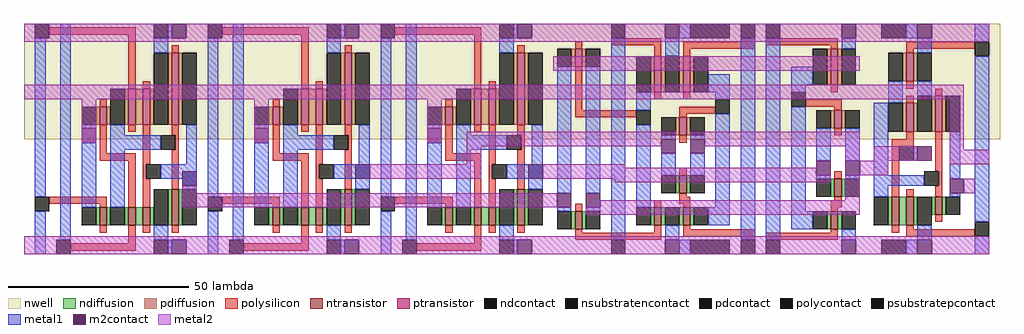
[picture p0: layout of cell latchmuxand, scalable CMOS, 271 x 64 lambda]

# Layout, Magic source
magic
tech scmos
<< metal2 >>
rect -90 127 57 131
rect 142 127 171 131
rect -74 115 -70 127
rect -26 115 -22 127
rect 22 115 26 127
rect 33 114 57 118
rect 33 109 37 114
rect 167 113 171 127
rect 167 109 178 113
rect 6 105 37 109
rect 54 105 57 109
rect -46 101 -42 103
rect -46 97 57 101
<< m2contact >>
rect -46 103 -42 107
rect 2 105 6 109
rect 50 105 54 109
use datapathLatch datapathLatch_0
transform 1 0 -89 0 1 84
box -1 0 50 64
use datapathLatch datapathLatch_1
transform 1 0 -41 0 1 84
box -1 0 50 64
use datapathLatch datapathLatch_2
transform 1 0 7 0 1 84
box -1 0 50 64
use 3to1mux 3to1mux_0
transform 1 0 71 0 1 84
box -16 0 74 64
use and2 and2_0
transform 1 0 66 0 1 77
box 77 7 115 71
<< end >>

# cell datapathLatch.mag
magic
tech scmos
<< nwell >>
rect -1 32 50 64
<< polysilicon >>
rect 6 61 30 63
rect 28 46 30 61
rect 40 56 42 58
rect 32 46 34 48
rect 20 41 22 43
rect 20 28 22 36
rect 28 34 30 36
rect 20 26 30 28
rect 6 14 22 16
rect 20 13 22 14
rect 28 13 30 26
rect 32 25 34 36
rect 40 33 42 36
rect 41 29 42 33
rect 32 21 33 25
rect 32 13 34 21
rect 40 18 42 29
rect 20 6 22 8
rect 28 3 30 8
rect 32 6 34 8
rect 40 6 42 8
rect 12 1 30 3
<< ndiffusion >>
rect 19 8 20 13
rect 22 8 23 13
rect 27 8 28 13
rect 30 8 32 13
rect 34 8 35 13
rect 39 8 40 18
rect 42 8 43 18
<< pdiffusion >>
rect 19 36 20 41
rect 22 36 23 41
rect 27 36 28 46
rect 30 36 32 46
rect 34 36 35 46
rect 39 36 40 56
rect 42 36 43 56
<< metal1 >>
rect 2 16 5 60
rect 2 0 5 12
rect 9 4 12 64
rect 39 60 40 64
rect 35 56 39 60
rect 15 35 19 36
rect 15 13 19 31
rect 23 33 27 36
rect 23 29 37 33
rect 23 13 27 29
rect 44 25 47 36
rect 37 21 47 25
rect 43 18 47 21
rect 35 4 39 8
rect 39 0 40 4
<< metal2 >>
rect -1 60 40 64
rect 44 60 50 64
rect -1 59 50 60
rect -1 4 50 5
rect -1 0 40 4
rect 44 0 50 4
<< ntransistor >>
rect 20 8 22 13
rect 28 8 30 13
rect 32 8 34 13
rect 40 8 42 18
<< ptransistor >>
rect 20 36 22 41
rect 28 36 30 46
rect 32 36 34 46
rect 40 36 42 56
<< polycontact >>
rect 2 60 6 64
rect 2 12 6 16
rect 37 29 41 33
rect 33 21 37 25
rect 8 0 12 4
<< ndcontact >>
rect 15 8 19 13
rect 23 8 27 13
rect 35 8 39 18
rect 43 8 47 18
<< pdcontact >>
rect 15 36 19 41
rect 23 36 27 46
rect 35 36 39 56
rect 43 36 47 56
<< m2contact >>
rect 40 60 44 64
rect 15 31 19 35
rect 40 0 44 4
<< psubstratepcontact >>
rect 35 0 39 4
<< nsubstratencontact >>
rect 35 60 39 64
<< labels >>
rlabel metal2 34 2 34 2 1 Gnd
rlabel metal1 11 21 11 21 1 Phi_b
rlabel metal1 3 22 3 22 1 Phi
rlabel metal2 31 61 31 61 1 Vdd
rlabel metal1 17 22 17 22 1 In
rlabel metal1 46 30 46 30 1 Out_b
<< end >>

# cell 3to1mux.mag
magic
tech scmos
<< nwell >>
rect -16 32 74 64
<< polysilicon >>
rect -8 57 -6 59
rect 2 58 16 60
rect 38 59 42 60
rect 14 55 16 58
rect 22 57 42 59
rect 45 58 65 60
rect 63 57 65 58
rect 22 55 24 57
rect -8 40 -6 52
rect 63 45 65 47
rect 14 43 16 45
rect 22 43 24 45
rect -8 38 9 40
rect 21 39 31 41
rect 56 41 66 43
rect 64 40 66 41
rect 21 38 23 39
rect 64 33 66 35
rect 21 31 23 33
rect 21 22 23 24
rect 64 21 66 23
rect 21 16 23 17
rect -8 12 -6 14
rect 14 13 16 15
rect 21 14 24 16
rect 64 15 66 16
rect 22 13 24 14
rect 63 13 66 15
rect 63 12 65 13
rect -8 6 -6 7
rect 14 6 16 8
rect -8 4 16 6
rect 22 7 24 8
rect 22 5 42 7
rect 63 6 65 7
rect 38 4 42 5
rect 45 4 65 6
<< ndiffusion >>
rect 20 17 21 22
rect 23 17 24 22
rect 63 16 64 21
rect 66 16 67 21
rect -9 7 -8 12
rect -6 7 -5 12
rect 13 8 14 13
rect 16 8 17 13
rect 21 8 22 13
rect 24 8 25 13
rect 62 7 63 12
rect 65 7 66 12
<< pdiffusion >>
rect -9 52 -8 57
rect -6 52 -5 57
rect 13 45 14 55
rect 16 45 17 55
rect 21 45 22 55
rect 24 45 25 55
rect 62 47 63 57
rect 65 47 66 57
rect 20 33 21 38
rect 23 33 24 38
rect 63 35 64 40
rect 66 35 67 40
<< metal1 >>
rect -13 17 -9 52
rect -13 12 -9 13
rect -5 17 -1 52
rect -5 12 -1 13
rect 2 4 6 60
rect 21 60 24 64
rect 17 55 21 60
rect 29 45 35 50
rect 9 40 13 45
rect 31 43 35 45
rect 9 13 13 36
rect 16 32 20 33
rect 16 22 20 28
rect 24 32 28 33
rect 24 22 28 28
rect 31 13 35 39
rect 29 8 35 13
rect 17 4 21 8
rect 38 4 42 60
rect 21 0 24 4
rect 45 4 49 60
rect 66 57 70 60
rect 52 47 58 52
rect 52 45 56 47
rect 52 12 56 41
rect 59 26 63 35
rect 59 21 63 22
rect 67 26 71 35
rect 67 21 71 22
rect 52 7 58 12
rect 66 4 70 7
<< metal2 >>
rect -15 60 17 64
rect 21 60 66 64
rect 70 60 73 64
rect -15 59 73 60
rect -14 51 71 55
rect -14 43 71 47
rect -14 32 20 34
rect -14 30 16 32
rect 24 32 71 34
rect 28 30 71 32
rect 67 26 71 30
rect -14 24 6 25
rect -14 22 59 24
rect -14 21 63 22
rect 3 20 63 21
rect 71 22 72 26
rect -14 13 -13 17
rect 67 15 71 22
rect -1 13 71 15
rect -5 11 71 13
rect -15 4 73 5
rect -15 0 17 4
rect 21 0 66 4
rect 70 0 73 4
<< ntransistor >>
rect 21 17 23 22
rect 64 16 66 21
rect -8 7 -6 12
rect 14 8 16 13
rect 22 8 24 13
rect 63 7 65 12
<< ptransistor >>
rect -8 52 -6 57
rect 14 45 16 55
rect 22 45 24 55
rect 63 47 65 57
rect 21 33 23 38
rect 64 35 66 40
<< polycontact >>
rect 2 60 6 64
rect 38 60 42 64
rect 45 60 49 64
rect 9 36 13 40
rect 31 39 35 43
rect 52 41 56 45
rect 2 0 6 4
rect 38 0 42 4
rect 45 0 49 4
<< ndcontact >>
rect 16 17 20 22
rect 24 17 28 22
rect 59 16 63 21
rect 67 16 71 21
rect -13 7 -9 12
rect -5 7 -1 12
rect 9 8 13 13
rect 17 8 21 13
rect 25 8 29 13
rect 58 7 62 12
rect 66 7 70 12
<< pdcontact >>
rect -13 52 -9 57
rect -5 52 -1 57
rect 9 45 13 55
rect 17 45 21 55
rect 25 45 29 55
rect 58 47 62 57
rect 66 47 70 57
rect 16 33 20 38
rect 24 33 28 38
rect 59 35 63 40
rect 67 35 71 40
<< m2contact >>
rect -13 13 -9 17
rect -5 13 -1 17
rect 17 60 21 64
rect 16 28 20 32
rect 24 28 28 32
rect 17 0 21 4
rect 66 60 70 64
rect 59 22 63 26
rect 67 22 71 26
rect 66 0 70 4
<< psubstratepcontact >>
rect 24 0 35 4
<< nsubstratencontact >>
rect 24 60 35 64
<< labels >>
rlabel metal2 -9 62 -9 62 5 Vdd
rlabel metal2 -9 2 -9 2 1 Gnd
rlabel metal2 -13 53 -13 53 7 Ex1
rlabel metal2 -13 45 -13 45 7 Ex2
rlabel metal2 -13 32 -13 32 7 In1
rlabel metal2 -13 23 -13 23 7 In2
rlabel metal2 -13 15 -13 15 7 In0
rlabel metal2 71 24 71 24 3 Out
rlabel polycontact 4 2 4 2 5 cntrl0
rlabel polycontact 40 2 40 2 5 cntrl1
rlabel polycontact 47 2 47 2 5 cntrl2
<< end >>

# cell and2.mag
magic
tech scmos
<< nwell >>
rect 77 39 115 71
<< polysilicon >>
rect 89 64 108 66
rect 89 63 91 64
rect 89 53 91 55
rect 97 51 99 53
rect 89 49 91 51
rect 89 39 91 41
rect 85 37 91 39
rect 85 23 87 37
rect 97 30 99 41
rect 98 26 99 30
rect 89 23 91 25
rect 97 23 99 26
rect 97 16 99 18
rect 85 13 87 15
rect 89 14 91 15
rect 89 12 108 14
<< ndiffusion >>
rect 84 15 85 23
rect 87 15 89 23
rect 91 15 92 23
rect 96 18 97 23
rect 99 18 100 23
<< pdiffusion >>
rect 88 55 89 63
rect 91 55 92 63
rect 88 41 89 49
rect 91 41 92 49
rect 96 41 97 51
rect 99 41 100 51
<< metal1 >>
rect 89 67 92 71
rect 92 63 96 67
rect 84 49 88 55
rect 80 29 84 49
rect 92 51 96 55
rect 108 66 112 71
rect 91 33 92 37
rect 80 26 94 29
rect 101 28 104 41
rect 80 23 84 26
rect 101 23 104 24
rect 92 11 96 15
rect 89 7 92 11
rect 108 16 112 62
rect 108 7 112 12
<< metal2 >>
rect 77 67 92 71
rect 96 67 112 71
rect 77 66 112 67
rect 80 33 92 37
rect 77 29 84 33
rect 105 24 108 28
rect 77 11 112 12
rect 77 7 92 11
rect 96 7 112 11
<< ntransistor >>
rect 85 15 87 23
rect 89 15 91 23
rect 97 18 99 23
<< ptransistor >>
rect 89 55 91 63
rect 89 41 91 49
rect 97 41 99 51
<< polycontact >>
rect 108 62 112 66
rect 87 33 91 37
rect 94 26 98 30
rect 108 12 112 16
<< ndcontact >>
rect 80 15 84 23
rect 92 15 96 23
rect 100 18 104 23
<< pdcontact >>
rect 84 55 88 63
rect 92 55 96 63
rect 84 41 88 49
rect 92 41 96 51
rect 100 41 104 51
<< m2contact >>
rect 92 67 96 71
rect 92 33 96 37
rect 101 24 105 28
rect 92 7 96 11
<< psubstratepcontact >>
rect 82 7 89 11
<< nsubstratencontact >>
rect 82 67 89 71
<< labels >>
rlabel metal2 100 9 100 9 5 Gnd
rlabel metal2 101 69 101 69 1 Vdd
rlabel metal2 80 31 80 31 7 FromMux
rlabel metal2 106 26 106 26 3 ToAdd
rlabel metal1 110 9 110 9 5 PixBit
<< end >>
